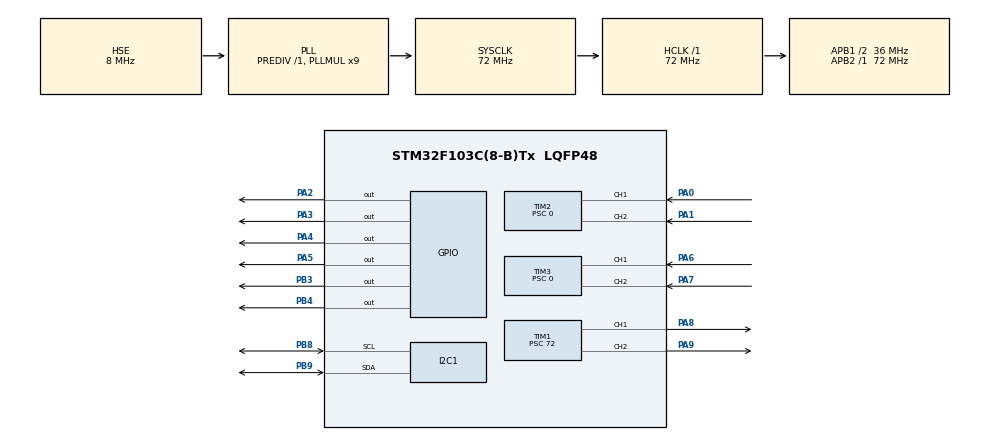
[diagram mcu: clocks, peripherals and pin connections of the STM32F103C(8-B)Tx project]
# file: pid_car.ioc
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I2C1.I2C_Mode=I2C_Fast
Mcu.Family=STM32F1
Mcu.Name=STM32F103C(8-B)Tx
Mcu.Package=LQFP48
NVIC.PriorityGroup=NVIC_PRIORITYGROUP_4
PA0-WKUP.Signal=S_TIM2_CH1_ETR
PA1.Signal=S_TIM2_CH2
PA13.Mode=Serial_Wire
PA13.Signal=SYS_JTMS-SWDIO
PA14.Mode=Serial_Wire
PA14.Signal=SYS_JTCK-SWCLK
PA2.Signal=GPIO_Output
PA3.Signal=GPIO_Output
PA4.GPIO_ModeDefaultOutputPP=GPIO_MODE_OUTPUT_PP
PA4.GPIO_PuPd=GPIO_PULLUP
PA4.Signal=GPIO_Output
PA5.GPIO_ModeDefaultOutputPP=GPIO_MODE_OUTPUT_PP
PA5.GPIO_PuPd=GPIO_PULLUP
PA5.Signal=GPIO_Output
PA6.Signal=S_TIM3_CH1
PA7.Signal=S_TIM3_CH2
PA8.Signal=S_TIM1_CH1
PA9.Signal=S_TIM1_CH2
PB3.GPIO_ModeDefaultOutputPP=GPIO_MODE_OUTPUT_OD
PB3.GPIO_Speed=GPIO_SPEED_FREQ_HIGH
PB3.PinState=GPIO_PIN_RESET
PB3.Signal=GPIO_Output
PB4.GPIO_ModeDefaultOutputPP=GPIO_MODE_OUTPUT_OD
PB4.GPIO_Speed=GPIO_SPEED_FREQ_HIGH
PB4.Signal=GPIO_Output
PB8.Mode=I2C
PB8.Signal=I2C1_SCL
PB9.Mode=I2C
PB9.Signal=I2C1_SDA
PC14-OSC32_IN.Mode=LSE-External-Oscillator
PC14-OSC32_IN.Signal=RCC_OSC32_IN
PC15-OSC32_OUT.Mode=LSE-External-Oscillator
PC15-OSC32_OUT.Signal=RCC_OSC32_OUT
PD0-OSC_IN.Mode=HSE-External-Oscillator
PD0-OSC_IN.Signal=RCC_OSC_IN
PD1-OSC_OUT.Mode=HSE-External-Oscillator
PD1-OSC_OUT.Signal=RCC_OSC_OUT
ProjectManager.HeapSize=0x200
ProjectManager.StackSize=0x400
ProjectManager.TargetToolchain=STM32CubeIDE
RCC.AHBFreq_Value=72000000
RCC.APB1CLKDivider=RCC_HCLK_DIV2
RCC.APB1Freq_Value=36000000
RCC.APB1TimFreq_Value=72000000
RCC.APB2Freq_Value=72000000
RCC.APB2TimFreq_Value=72000000
RCC.HCLKFreq_Value=72000000
RCC.PLLMUL=RCC_PLL_MUL9
RCC.PLLSourceVirtual=RCC_PLLSOURCE_HSE
RCC.SYSCLKFreq_VALUE=72000000
RCC.SYSCLKSource=RCC_SYSCLKSOURCE_PLLCLK
RCC.USBFreq_Value=72000000
SH.S_TIM1_CH1.0=TIM1_CH1,PWM Generation1 CH1
SH.S_TIM1_CH2.0=TIM1_CH2,PWM Generation2 CH2
SH.S_TIM2_CH1_ETR.0=TIM2_CH1,Encoder_Interface
SH.S_TIM2_CH2.0=TIM2_CH2,Encoder_Interface
SH.S_TIM3_CH1.0=TIM3_CH1,Encoder_Interface
SH.S_TIM3_CH2.0=TIM3_CH2,Encoder_Interface
TIM1.Channel-PWM\ Generation1\ CH1=TIM_CHANNEL_1
TIM1.Channel-PWM\ Generation2\ CH2=TIM_CHANNEL_2
TIM1.Period=999
TIM1.Prescaler=72
TIM2.AutoReloadPreload=TIM_AUTORELOAD_PRELOAD_DISABLE
TIM2.EncoderMode=TIM_ENCODERMODE_TI1
TIM2.Period=65535
TIM2.Prescaler=0
TIM3.EncoderMode=TIM_ENCODERMODE_TI1
TIM3.Prescaler=0
VP_TIM1_VS_ClockSourceINT.Mode=Internal
board=custom

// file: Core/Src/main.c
/* USER CODE BEGIN Header */
/**
  ******************************************************************************
  * @file           : main.c
  * @brief          : Main program body
  ******************************************************************************
  * @attention
  *
  * <h2><center>&copy; Copyright (c) 2025 STMicroelectronics.
  * All rights reserved.</center></h2>
  *
  * This software component is licensed by ST under BSD 3-Clause license,
  * the "License"; You may not use this file except in compliance with the
  * License. You may obtain a copy of the License at:
  *                        opensource.org/licenses/BSD-3-Clause
  *
  ******************************************************************************
  */
/* USER CODE END Header */
#include "main.h"
#include "i2c.h"
#include "tim.h"
#include "gpio.h"

/* USER CODE BEGIN Includes */
#include "OLED.h"
#include "car_control_new.h"
#include "AI.h"
#include "position_speed_pid.h"
#include "mpu6050.h"
#include "inv_mpu.h"

/* USER CODE END Includes */

/* USER CODE BEGIN PTD */
extern int wadawdawd;
extern float yaw;
extern int32_t previous_position_1;
/* USER CODE END PTD */

void SystemClock_Config(void);

int main(void)
{

  /* MCU Configuration--------------------------------------------------------*/

  /* Reset of all peripherals, Initializes the Flash interface and the Systick. */
  HAL_Init();

  /* Configure the system clock */
  SystemClock_Config();

  /* Initialize all configured peripherals */
  MX_GPIO_Init();
  MX_TIM2_Init();
  MX_TIM3_Init();
  MX_I2C1_Init();
  MX_TIM1_Init();
  /* USER CODE BEGIN 2 */
  OLED_Init();
  OLED_Clear();
  HAL_TIM_Encoder_Start(&htim2,TIM_CHANNEL_ALL);
  HAL_TIM_Encoder_Start(&htim3,TIM_CHANNEL_ALL);
  Start_PWM();
  MPU_Init();
  mpu_dmp_init();
  OLED_ShowString(4,2,"ok");
  OLED_ShowString(4,3,"ok");
  Go_Motor();

  /* USER CODE END 2 */

  /* Infinite loop */
  /* USER CODE BEGIN WHILE */
  while (1)
  {
      pos_spe_pid();
      HAL_Delay(50);

    /* USER CODE END WHILE */

  }
}

void SystemClock_Config(void)
{
  RCC_OscInitTypeDef RCC_OscInitStruct = {0};
  RCC_ClkInitTypeDef RCC_ClkInitStruct = {0};

  /** Initializes the RCC Oscillators according to the specified parameters
  * in the RCC_OscInitTypeDef structure.
  */
  RCC_OscInitStruct.OscillatorType = RCC_OSCILLATORTYPE_HSE;
  RCC_OscInitStruct.HSEState = RCC_HSE_ON;
  RCC_OscInitStruct.HSEPredivValue = RCC_HSE_PREDIV_DIV1;
  RCC_OscInitStruct.HSIState = RCC_HSI_ON;
  RCC_OscInitStruct.PLL.PLLState = RCC_PLL_ON;
  RCC_OscInitStruct.PLL.PLLSource = RCC_PLLSOURCE_HSE;
  RCC_OscInitStruct.PLL.PLLMUL = RCC_PLL_MUL9;
  if (HAL_RCC_OscConfig(&RCC_OscInitStruct) != HAL_OK)
  {
    Error_Handler();
  }
  /** Initializes the CPU, AHB and APB buses clocks
  */
  RCC_ClkInitStruct.ClockType = RCC_CLOCKTYPE_HCLK|RCC_CLOCKTYPE_SYSCLK
                              |RCC_CLOCKTYPE_PCLK1|RCC_CLOCKTYPE_PCLK2;
  RCC_ClkInitStruct.SYSCLKSource = RCC_SYSCLKSOURCE_PLLCLK;
  RCC_ClkInitStruct.AHBCLKDivider = RCC_SYSCLK_DIV1;
  RCC_ClkInitStruct.APB1CLKDivider = RCC_HCLK_DIV2;
  RCC_ClkInitStruct.APB2CLKDivider = RCC_HCLK_DIV1;

  if (HAL_RCC_ClockConfig(&RCC_ClkInitStruct, FLASH_LATENCY_2) != HAL_OK)
  {
    Error_Handler();
  }
}

void Error_Handler(void)
{
  __disable_irq();
  while (1)
  {
  }
}

/************************ (C) COPYRIGHT STMicroelectronics *****END OF FILE****/
